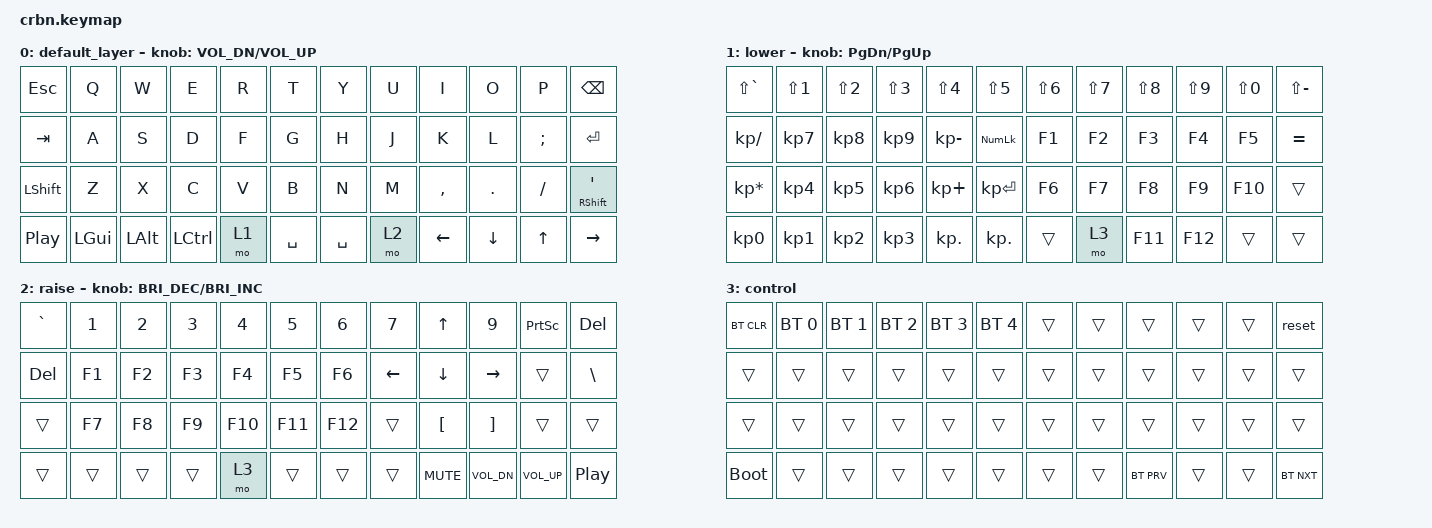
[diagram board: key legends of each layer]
/*
 * Copyright (c) 2020 The ZMK Contributors
 *
 * SPDX-License-Identifier: MIT
 */

#include <behaviors.dtsi>
#include <dt-bindings/zmk/keys.h>
#include <dt-bindings/zmk/bt.h>

/ {
	keymap {
		compatible = "zmk,keymap";

		default_layer {
				// -----------------------------------------------------------------------------------------
				// | ESC   |  Q   |  W   |  E   |  R   |  T   |   Y   |  U    |  I   |  O   |   P   | BSPC  |
				// | TAB   |  A   |  S   |  D   |  F   |  G   |   H   |  J    |  K   |  L   |   ;   | RET   |
				// | SHIFT |  Z   |  X   |  C   |  V   |  B   |   N   |  M    |  ,   |  .   |   /   |SQT/SFT|
				// | PLAY  | LCTL | LALT | LGUI | LOWR |     SPACE    |  RAIS | LARW | DARW | UARW  |  RARW |
			bindings = <
				&kp ESC   &kp Q    &kp W &kp E &kp R &kp T  &kp Y   &kp U  &kp I    &kp O   &kp P    &kp BSPC
				&kp TAB   &kp A    &kp S &kp D &kp F &kp G  &kp H   &kp J  &kp K    &kp L   &kp SEMI &kp RET
				&kp LSHFT &kp Z    &kp X &kp C &kp V &kp B  &kp N   &kp M  &kp COMMA &kp DOT &kp FSLH &mt RSHFT SQT
				&kp C_PP &kp LGUI &kp LALT &kp LCTRL &mo 1 &kp SPACE &kp SPACE &mo 2 &kp LEFT &kp DOWN &kp UP &kp RIGHT
			>;

			sensor-bindings = <&inc_dec_kp C_VOL_DN C_VOL_UP>;
		};

		lower {
				// -----------------------------------------------------------------------------------------
				// |  ~    |  !   |  @   |  #   |  $   |  %   |   ^   |  &    |  *   |  (   |   )   |   _   |
				// |  /    |  N7  |  N8  |  N9  |  -   |  NLCK|   F1  |  F2   |  F3  |  F4  |  F5   |   =   |
				// |  *    |  N4  |  N5  |  N6  |  +   |  N=  |   F6  |  F7   |  F8  |  F9  |  F10  | TRANS |
				// |  N0   |  N1  |  N2  |  N3  | TRANS|      DOT     |  MO3  |  F11 |  F12 |  TRANS| TRANS |
			bindings = <
				&kp LS(GRAVE)   &kp LS(N1)   &kp LS(N2)  &kp LS(N3)  &kp LS(N4)    &kp LS(N5)    &kp LS(N6)    &kp LS(N7)    &kp LS(N8)    &kp LS(N9)    &kp LS(N0)    &kp LS(MINUS)
				&kp KP_DIVIDE   &kp KP_N7    &kp KP_N8   &kp KP_N9   &kp KP_MINUS  &kp KP_NLCK     &kp F1        &kp F2        &kp F3        &kp F4        &kp F5        &kp EQUAL
				&kp KP_MULTIPLY &kp KP_N4    &kp KP_N5   &kp KP_N6   &kp KP_PLUS   &kp KP_ENTER  &kp F6        &kp F7        &kp F8        &kp F9        &kp F10       &trans
				&kp KP_N0       &kp KP_N1    &kp KP_N2   &kp KP_N3   &kp KP_DOT    &kp KP_DOT    &trans        &mo 3         &kp F11       &kp F12       &trans        &trans
			>;

			sensor-bindings = <&inc_dec_kp PG_DN PG_UP>;
		};

		raise {
				// -----------------------------------------------------------------------------------------
				// |  `    |  1   |  2   |  3   |  4   |  5   |  6    |  7    |  UP   |  9   | PSCRN |  DEL  |
				// |  DEL  |  F1  |  F2  |  F3  |  F4  |  F5  |  F6   | LEFT  | DOWN  | RIGHT|  ]    |  \    |
				// |  *    |  F7  |  F8  |  F9  |  F10 |  F11 |  F12  | TRANS |  [    |  ]   | TRANS | TRANS |
				// | TRANS | TRANS| TRANS| TRANS| MO3  |     TRANS    | TRANS | MUTE  | VOLDN| VOLUP | TRANS |
			bindings = <
				&kp GRAVE   &kp N1    &kp N2    &kp N3    &kp N4    &kp N5    &kp N6    &kp N7    &kp UP     &kp N9        &kp PSCRN    &kp DEL
				&kp DEL     &kp F1    &kp F2    &kp F3    &kp F4    &kp F5    &kp F6    &kp LEFT  &kp DOWN   &kp RIGHT     &trans       &kp BSLH
				&trans      &kp F7    &kp F8    &kp F9    &kp F10   &kp F11   &kp F12   &trans    &kp LBKT   &kp RBKT      &trans       &trans
				&trans      &trans    &trans    &trans    &mo 3     &trans    &trans    &trans    &kp C_MUTE &kp C_VOL_DN  &kp C_VOL_UP &kp C_PP
			>;
			
			sensor-bindings = <&inc_dec_kp C_BRI_DEC C_BRI_INC>;
		};
		
		control {
			bindings = <
				&bt BT_CLR &bt BT_SEL 0 &bt BT_SEL 1 &bt BT_SEL 2 &bt BT_SEL 3 &bt BT_SEL 4 &trans &trans &trans &trans &trans &reset
				&trans &trans &trans &trans &trans &trans &trans &trans &trans &trans &trans &trans
				&trans &trans &trans &trans &trans &trans &trans &trans &trans &trans &trans &trans
				&bootloader &trans &trans &trans &trans &trans &trans &trans &bt BT_PRV &trans &trans &bt BT_NXT
			>;
		};
	};
};
